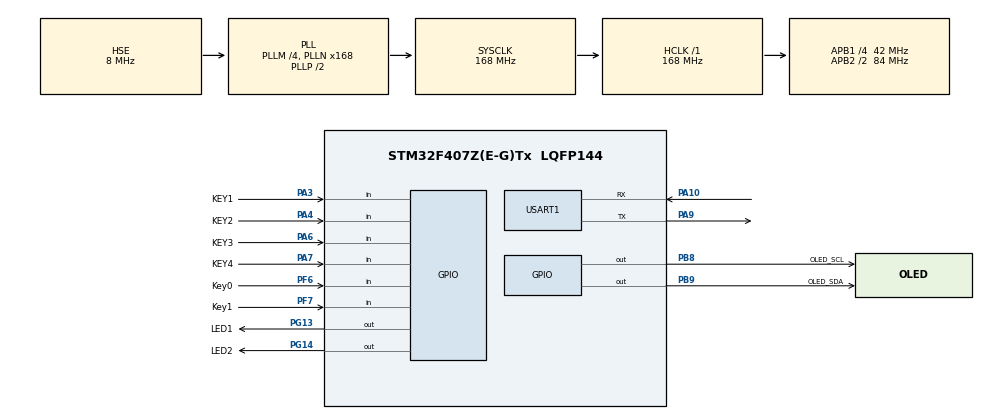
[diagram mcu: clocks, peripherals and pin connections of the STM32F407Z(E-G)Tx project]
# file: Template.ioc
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Mcu.Family=STM32F4
Mcu.Name=STM32F407Z(E-G)Tx
Mcu.Package=LQFP144
NVIC.PriorityGroup=NVIC_PRIORITYGROUP_2
NVIC.USART1_IRQn=true\:0\:0\:false\:false\:true\:true\:true\:true
PA10.Mode=Asynchronous
PA10.Signal=USART1_RX
PA13.Mode=Serial_Wire
PA13.Signal=SYS_JTMS-SWDIO
PA14.Mode=Serial_Wire
PA14.Signal=SYS_JTCK-SWCLK
PA3.GPIO_Label=KEY1
PA3.GPIO_PuPd=GPIO_PULLUP
PA3.Signal=GPIO_Input
PA4.GPIO_Label=KEY2
PA4.GPIO_PuPd=GPIO_PULLUP
PA4.Signal=GPIO_Input
PA6.GPIO_Label=KEY3
PA6.GPIO_PuPd=GPIO_PULLUP
PA6.Signal=GPIO_Input
PA7.GPIO_Label=KEY4
PA7.GPIO_PuPd=GPIO_PULLUP
PA7.Signal=GPIO_Input
PA9.Mode=Asynchronous
PA9.Signal=USART1_TX
PB8.GPIO_Label=OLED_SCL
PB8.GPIO_ModeDefaultOutputPP=GPIO_MODE_OUTPUT_PP
PB8.GPIO_PuPd=GPIO_NOPULL
PB8.GPIO_Speed=GPIO_SPEED_FREQ_HIGH
PB8.Signal=GPIO_Output
PB9.GPIO_Label=OLED_SDA
PB9.GPIO_ModeDefaultOutputPP=GPIO_MODE_OUTPUT_PP
PB9.GPIO_PuPd=GPIO_NOPULL
PB9.GPIO_Speed=GPIO_SPEED_FREQ_HIGH
PB9.Signal=GPIO_Output
PC14-OSC32_IN.Mode=LSE-External-Oscillator
PC14-OSC32_IN.Signal=RCC_OSC32_IN
PC15-OSC32_OUT.Mode=LSE-External-Oscillator
PC15-OSC32_OUT.Signal=RCC_OSC32_OUT
PF6.GPIO_Label=Key0
PF6.GPIO_PuPd=GPIO_PULLUP
PF6.Signal=GPIO_Input
PF7.GPIO_Label=Key1
PF7.GPIO_PuPd=GPIO_PULLUP
PF7.Signal=GPIO_Input
PG13.GPIO_Label=LED1
PG13.PinState=GPIO_PIN_SET
PG13.Signal=GPIO_Output
PG14.GPIO_Label=LED2
PG14.PinState=GPIO_PIN_SET
PG14.Signal=GPIO_Output
PH0-OSC_IN.Mode=HSE-External-Oscillator
PH0-OSC_IN.Signal=RCC_OSC_IN
PH1-OSC_OUT.Mode=HSE-External-Oscillator
PH1-OSC_OUT.Signal=RCC_OSC_OUT
ProjectManager.HeapSize=0x200
ProjectManager.StackSize=0x400
ProjectManager.TargetToolchain=MDK-ARM V5.32
RCC.48MHZClocksFreq_Value=84000000
RCC.AHBFreq_Value=168000000
RCC.APB1CLKDivider=RCC_HCLK_DIV4
RCC.APB1Freq_Value=42000000
RCC.APB1TimFreq_Value=84000000
RCC.APB2CLKDivider=RCC_HCLK_DIV2
RCC.APB2Freq_Value=84000000
RCC.APB2TimFreq_Value=168000000
RCC.CortexFreq_Value=168000000
RCC.HCLKFreq_Value=168000000
RCC.HSE_VALUE=8000000
RCC.HSI_VALUE=16000000
RCC.PLLM=4
RCC.PLLN=168
RCC.PLLSourceVirtual=RCC_PLLSOURCE_HSE
RCC.SYSCLKFreq_VALUE=168000000
RCC.SYSCLKSource=RCC_SYSCLKSOURCE_PLLCLK
RCC.VCOOutputFreq_Value=336000000
USART1.VirtualMode=VM_ASYNC
board=custom

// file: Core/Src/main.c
/* USER CODE BEGIN Header */
/**
  ******************************************************************************
  * @file           : main.c
  * @brief          : Main program body
  ******************************************************************************
  * @attention
  *
  * Copyright (c) 2025 STMicroelectronics.
  * All rights reserved.
  *
  * This software is licensed under terms that can be found in the LICENSE file
  * in the root directory of this software component.
  * If no LICENSE file comes with this software, it is provided AS-IS.
  *
  ******************************************************************************
  */
/* USER CODE END Header */
#include "main.h"
#include "usart.h"
#include "gpio.h"

void SystemClock_Config(void);

/* USER CODE BEGIN 0 */

// ********************  库导入  ********************
#include "core_cm4.h"
#include "OLED.h"
#include "Key.h"
#include "string.h"
// ******************** 全局变量 ********************
// USART1串口通信

// 定义接受长度
#define USART_RX_BUF_LEN 25
// 接收状态和缓冲区
uint8_t USART_RX_BUF[USART_RX_BUF_LEN] ;

// ******************** 实验区域 ********************
// 全局可调用参数用来测试代码
int check_1 ;
int check_2 ;

/* USER CODE END 0 */

int main(void)
{

  /* MCU Configuration--------------------------------------------------------*/

  /* Reset of all peripherals, Initializes the Flash interface and the Systick. */
  HAL_Init();

  /* Configure the system clock */
  SystemClock_Config();

  /* Initialize all configured peripherals */
  MX_GPIO_Init();
  MX_USART1_UART_Init();
  /* USER CODE BEGIN 2 */

	// ********************  setup初始化  ********************
	// Systick初始化
	HAL_SYSTICK_Config(SystemCoreClock / 1000); // 1ms定时周期
	// OLED初始化
	OLED_Init() ;
	OLED_ShowString(0,0,"2025",OLED_8X16) ;

	// ********************  setup实验区域  ********************

	// 串口接收初始化
	// 接收中断初始化
	HAL_UARTEx_ReceiveToIdle_IT(&huart1, USART_RX_BUF, USART_RX_BUF_LEN);

  /* USER CODE END 2 */

  /* Infinite loop */
  while (1)
  {

    /* USER CODE BEGIN 3 */
		// ********************  while循环  ********************
		if (Key_Check(KEY_1 , KEY_SINGLE))
		{
			HAL_GPIO_TogglePin(LED1_GPIO_Port , LED1_Pin) ;
		}

		// ********************  while实验区域  ********************

		// OLED刷新(必要,放在最后)
		OLED_Update() ;
  }
  /* USER CODE END 3 */
}

void SystemClock_Config(void)
{
  RCC_OscInitTypeDef RCC_OscInitStruct = {0};
  RCC_ClkInitTypeDef RCC_ClkInitStruct = {0};

  /** Configure the main internal regulator output voltage
  */
  __HAL_RCC_PWR_CLK_ENABLE();
  __HAL_PWR_VOLTAGESCALING_CONFIG(PWR_REGULATOR_VOLTAGE_SCALE1);

  /** Initializes the RCC Oscillators according to the specified parameters
  * in the RCC_OscInitTypeDef structure.
  */
  RCC_OscInitStruct.OscillatorType = RCC_OSCILLATORTYPE_HSE;
  RCC_OscInitStruct.HSEState = RCC_HSE_ON;
  RCC_OscInitStruct.PLL.PLLState = RCC_PLL_ON;
  RCC_OscInitStruct.PLL.PLLSource = RCC_PLLSOURCE_HSE;
  RCC_OscInitStruct.PLL.PLLM = 4;
  RCC_OscInitStruct.PLL.PLLN = 168;
  RCC_OscInitStruct.PLL.PLLP = RCC_PLLP_DIV2;
  RCC_OscInitStruct.PLL.PLLQ = 4;
  if (HAL_RCC_OscConfig(&RCC_OscInitStruct) != HAL_OK)
  {
    Error_Handler();
  }

  /** Initializes the CPU, AHB and APB buses clocks
  */
  RCC_ClkInitStruct.ClockType = RCC_CLOCKTYPE_HCLK|RCC_CLOCKTYPE_SYSCLK
                              |RCC_CLOCKTYPE_PCLK1|RCC_CLOCKTYPE_PCLK2;
  RCC_ClkInitStruct.SYSCLKSource = RCC_SYSCLKSOURCE_PLLCLK;
  RCC_ClkInitStruct.AHBCLKDivider = RCC_SYSCLK_DIV1;
  RCC_ClkInitStruct.APB1CLKDivider = RCC_HCLK_DIV4;
  RCC_ClkInitStruct.APB2CLKDivider = RCC_HCLK_DIV2;

  if (HAL_RCC_ClockConfig(&RCC_ClkInitStruct, FLASH_LATENCY_5) != HAL_OK)
  {
    Error_Handler();
  }
}

/* USER CODE BEGIN 4 */
// ********************  相关函数  ********************

// 系统滴答定时器中断回调函数（每1ms调用一次）
void HAL_SYSTICK_Callback(void)
{
	// 启动自分频
	static int ms_count = 0 ;
	ms_count ++ ;

	// 功能1:
	if (ms_count % 1000 == 0)
	{

	}

	// 功能2: 按键检测
	Key_Tick() ;

	// 功能3:

	// 防止数据溢出,每10s清零一次,这么写以及各个功能的%是为了防止忘记清零所以不如直接统一清零
	if (ms_count == 1000 * 10)
	{
		ms_count = 0 ;
	}
}

// USART串口通信
void HAL_UARTEx_RxEventCallback(UART_HandleTypeDef *huart, uint16_t Size)
{
	if (huart->Instance == USART1)
	{
		// 1.添加结束符确保字符串安全
		if (Size > 0 && Size < USART_RX_BUF_LEN)
		{
			USART_RX_BUF[Size] = '\0';
		}

		// 2.使用字符串匹配代替固定长度检查
		if (strstr((char *)USART_RX_BUF, "send") != NULL)
		{
			HAL_GPIO_TogglePin(LED1_GPIO_Port, LED1_Pin);
		}

		// 3. 发送回显（添加\r\n+正确长度+状态检查）
		const char *echo_str = "Hello!"; // 不换行的回显字符串
		uint16_t echo_len = strlen(echo_str); // 计算长度

		if (huart1.gState == HAL_UART_STATE_READY)
		{
			HAL_UART_Transmit_IT(&huart1, (uint8_t *)echo_str, echo_len); // 检查UART是否就绪
		}

		// 4.重启接收前清除缓存区
		memset(USART_RX_BUF, 0, USART_RX_BUF_LEN);

		// 5.再次接收
		HAL_UARTEx_ReceiveToIdle_IT(&huart1, USART_RX_BUF, USART_RX_BUF_LEN);
	}
}

/* USER CODE END 4 */

void Error_Handler(void)
{
  __disable_irq();
  while (1)
  {
  }
}
